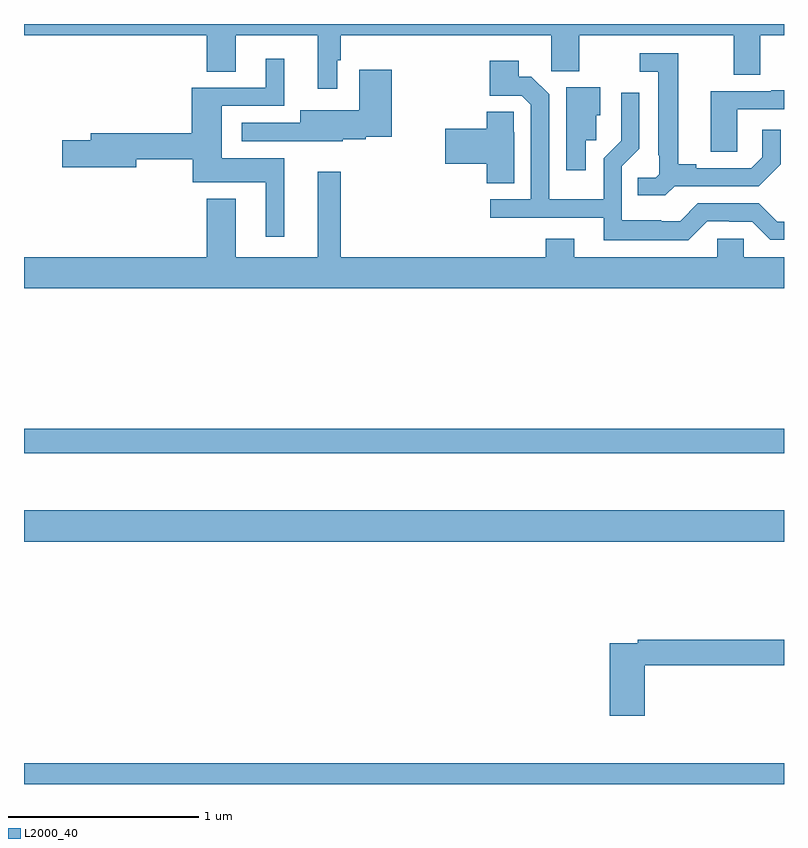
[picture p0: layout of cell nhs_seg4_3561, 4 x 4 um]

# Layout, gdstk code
import gdstk
lib = gdstk.Library(unit=1e-6, precision=1e-09)
def R(c, l, rs):  # rectangles x0, y0, x1, y1
    for r in rs: c.add(gdstk.rectangle(r[:2], r[2:], *l))
def P(c, l, *ps):  # polygons
    for p in ps: c.add(gdstk.Polygon(p, *l))
L2000_40 = (2000, 40)

nhs_seg4_3561 = lib.new_cell('nhs_seg4_3561')
R(nhs_seg4_3561, L2000_40, [(299,772.9,303,773.008), (299,774.176,303,774.34), (299,774.642,303,774.77)])
P(nhs_seg4_3561, L2000_40, [(300.649,776.708),(300.667,776.708),(300.667,776.84),(301.776,776.84),(301.776,776.651),(301.923,776.651),(301.923,776.84),(302.735,776.84),(302.735,776.632),(302.875,776.632),(302.875,776.84),(303,776.84),(303,776.9),(299,776.9),(299,776.84),(299.963,776.84),(299.963,776.65),(300.115,776.65),(300.115,776.84),(300.545,776.84),(300.545,776.559),(300.649,776.559)],
  [(302.424,776.046),(302.866,776.046),(302.982,776.162),(302.982,776.344),(302.885,776.344),(302.885,776.199),(302.828,776.142),(302.539,776.142),(302.539,776.162),(302.443,776.162),(302.443,776.745),(302.241,776.745),(302.241,776.649),(302.339,776.649),(302.339,776.209),(302.343,776.209),(302.343,776.109),(302.325,776.091),(302.23,776.091),(302.23,775.999),(302.376,775.999)],
  [(300.37,776.194),(300.04,776.194),(300.04,776.469),(300.37,776.469),(300.37,776.716),(300.272,776.716),(300.272,776.565),(299.882,776.565),(299.882,776.324),(299.351,776.324),(299.351,776.288),(299.202,776.288),(299.202,776.146),(299.59,776.146),(299.59,776.188),(299.887,776.188),(299.887,776.066),(300.272,776.066),(300.272,775.779),(300.37,775.779)],
  [(302.595,775.863),(302.712,775.863),(302.712,775.86),(302.832,775.86),(302.928,775.764),(303,775.764),(303,775.86),(302.964,775.86),(302.868,775.956),(302.547,775.956),(302.454,775.863),(302.354,775.863),(302.354,775.867),(302.145,775.867),(302.145,776.151),(302.238,776.244),(302.238,776.539),(302.144,776.539),(302.144,776.286),(302.052,776.194),(302.052,775.978),(301.764,775.978),(301.764,776.529),(301.671,776.622),(301.603,776.622),(301.603,776.707),(301.451,776.707),(301.451,776.523),(301.62,776.523),(301.668,776.475),(301.668,775.977),(301.455,775.977),(301.455,775.881),(302.051,775.881),(302.051,775.763),(302.495,775.763)],
  [(300.678,776.294),(300.798,776.294),(300.798,776.306),(300.935,776.306),(300.935,776.659),(300.764,776.659),(300.764,776.446),(300.455,776.446),(300.455,776.379),(300.147,776.379),(300.147,776.283),(300.459,776.283),(300.459,776.282),(300.678,776.282)],
  [(301.957,776.289),(302.013,776.289),(302.013,776.421),(302.032,776.421),(302.032,776.566),(301.853,776.566),(301.853,776.13),(301.957,776.13)],
  [(302.754,776.451),(303,776.451),(303,776.551),(302.933,776.551),(302.933,776.547),(302.615,776.547),(302.615,776.227),(302.754,776.227)],
  [(301.579,776.33),(301.578,776.33),(301.578,776.438),(301.436,776.438),(301.436,776.348),(301.218,776.348),(301.218,776.165),(301.436,776.165),(301.436,776.062),(301.579,776.062)],
  [(303,775.672),(302.787,775.672),(302.787,775.77),(302.649,775.77),(302.649,775.672),(301.897,775.672),(301.897,775.771),(301.745,775.771),(301.745,775.672),(300.667,775.672),(300.667,776.122),(300.545,776.122),(300.545,775.672),(300.115,775.672),(300.115,775.981),(299.963,775.981),(299.963,775.672),(299,775.672),(299,775.508),(303,775.508)],
  [(302.267,773.524),(303,773.524),(303,773.66),(302.23,773.66),(302.23,773.64),(302.084,773.64),(302.084,773.259),(302.267,773.259)])

lib.write_gds('nhs_seg4_3561.gds')
